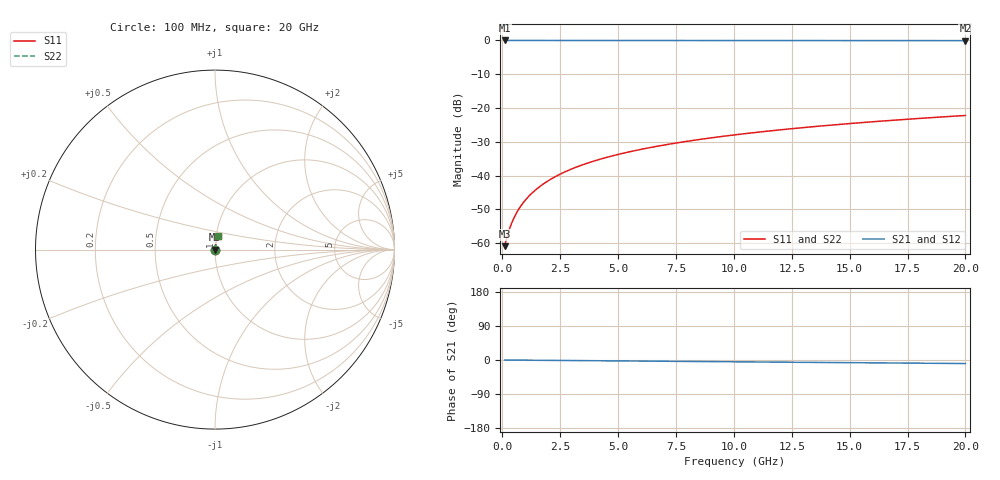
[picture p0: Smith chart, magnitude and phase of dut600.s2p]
! Touchstone file exported from HFSS 2026.1.0
!  File:  C:/ffzhzh/LocalFiles/Ansys_Project_Files/temp_train_TMRDL_600_1783008578_55676.aedt
!  Generated:  12:11:02 AM Jul  3, 2026
!  Design:  TMRDL
!  Project:  temp_train_TMRDL_600_1783008578_55676
! Variables:
!  h_bsmrdl = 2um
!  h_ox = 20um
!  h_rdl = 5um
!  h_sub = 80um
!  h_tmrdl = 4.92um
!  h_tsv = 80um
!  h_via = 3um
!  l_bsmrdl = 300um
!  l_sub = 529.69um
!  l_tmrdl = 129.69um
!  m_sub = 200um
!  pitch = 28.94um
!  r_tsv = 6um
!  s_tmrdl = 10um
!  w_bsmrdl = 18um
!  w_sub = 500um
!  w_tmrdl = 14.61um
!  x_tsv_center1 = 136.995um
!  x_tsv_center2 = 454.995um
!  x_tsv_center3 = 599.295um
!  x_tsv_center4 = 917.295um
!  x_tsv_center5 = 1061.595um
!  x_tsv_center6 = 1379.595um
# GHz S MA R 50.000000
! Terminal data exported
! Port[1] = TM_RDL1_1_T1
! Port[2] = TM_RDL1_1_T2
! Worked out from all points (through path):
!   200 points, 100 MHz to 20 GHz, reference 50 ohm
!   highest |S21| = -0.01 dB at 100 MHz (marker M1); lowest = -0.1 dB at 20 GHz (marker M2)
!   group delay of S21, straight-line fit = 1.29 ps
!   lowest |S11| = -60.9 dB at 100 MHz (marker M3), VSWR 1.00, Z = 50.1 + j0.047 ohm
!   |S11| at or under -10 dB: start of sweep to end of sweep
!   |S22| runs from -60.9 to -22.2 dB; largest |S21 - S12| = 4.1e-15
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0.1  0.0009037 31.3  0.9992 -0.1  0.9992 -0.1  0.0009037 31.3
! Gamma 0 0 0 0
! Port Impedance 50 0 50 0
0.2  0.001223 48.6  0.9992 -0.1  0.9992 -0.1  0.001223 48.6
0.3  0.001589 57.9  0.9992 -0.2  0.9992 -0.2  0.001589 57.9
0.4  0.001969 63.6  0.9991 -0.2  0.9991 -0.2  0.001969 63.6
0.5  0.002356 67.5  0.9991 -0.2  0.9991 -0.2  0.002356 67.5
0.6  0.002748 70.4  0.9991 -0.3  0.9991 -0.3  0.002748 70.4
0.8  0.003547 74.3  0.9991 -0.4  0.9991 -0.4  0.003547 74.3
1  0.004357 76.8  0.999 -0.5  0.999 -0.5  0.004357 76.8
1.2  0.005174 78.5  0.999 -0.6  0.999 -0.6  0.005174 78.5
1.4  0.005995 79.6  0.999 -0.7  0.999 -0.7  0.005995 79.6
1.7  0.007229 80.8  0.9989 -0.8  0.9989 -0.8  0.007229 80.8
2.2  0.009285 81.9  0.9988 -1.1  0.9988 -1.1  0.009285 81.9
2.8  0.01174 82.6  0.9987 -1.4  0.9987 -1.4  0.01174 82.6
3.5  0.01458 82.9  0.9985 -1.7  0.9985 -1.7  0.01458 82.9
4.2  0.01739 82.9  0.9983 -2.0  0.9983 -2.0  0.01739 82.9
5  0.02057 82.8  0.9981 -2.4  0.9981 -2.4  0.02057 82.8
6.8  0.02762 82.4  0.9975 -3.2  0.9975 -3.2  0.02762 82.4
8.3  0.03342 82.0  0.9971 -3.9  0.9971 -3.9  0.03342 82.0
10.1  0.04032 81.5  0.9965 -4.8  0.9965 -4.8  0.04032 81.5
13.4  0.05285 80.3  0.9955 -6.3  0.9955 -6.3  0.05285 80.3
16.7  0.06527 79.1  0.9944 -7.8  0.9944 -7.8  0.06527 79.1
20  0.07759 77.8  0.9932 -9.3  0.9932 -9.3  0.07759 77.8
